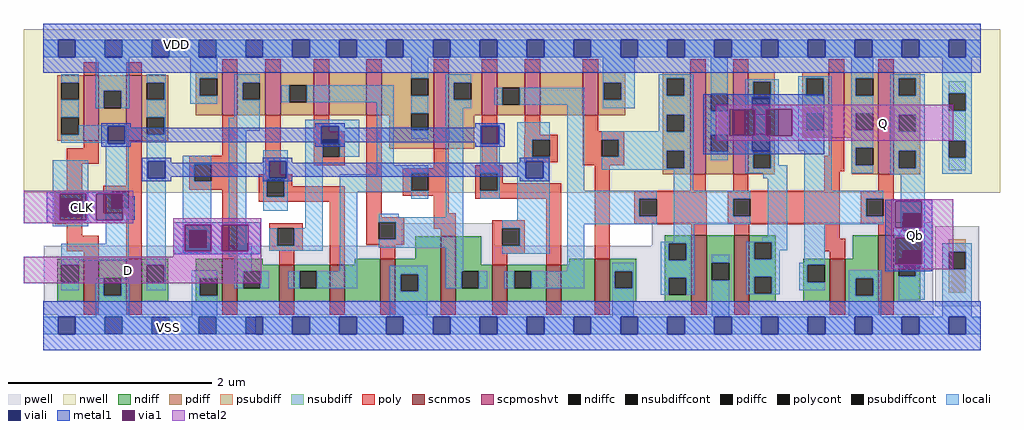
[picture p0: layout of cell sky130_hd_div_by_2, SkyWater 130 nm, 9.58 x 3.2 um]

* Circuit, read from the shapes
.subckt sky130_hd_div_by_2 VDD VSS Q Qb CLK D
XM1 VSS CLK n1 VSS sky130_fd_pr__nfet_01v8 w=0.42 l=0.15
XM2 n2 n1 VSS VSS sky130_fd_pr__nfet_01v8 w=0.42 l=0.15
XM3 n3 D VSS VSS sky130_fd_pr__nfet_01v8 w=0.42 l=0.15
XM4 n4 n1 n3 VSS sky130_fd_pr__nfet_01v8 w=0.36 l=0.15
XM5 n5 n2 n4 VSS sky130_fd_pr__nfet_01v8 w=0.36 l=0.15
XM6 VSS n6 n5 VSS sky130_fd_pr__nfet_01v8 w=0.42 l=0.15
XM7 n6 n4 VSS VSS sky130_fd_pr__nfet_01v8 w=0.64 l=0.15
XM8 n7 n2 n6 VSS sky130_fd_pr__nfet_01v8 w=0.36 l=0.15
XM9 n8 n1 n7 VSS sky130_fd_pr__nfet_01v8 w=0.36 l=0.15
XM10 VSS n9 n8 VSS sky130_fd_pr__nfet_01v8 w=0.42 l=0.15
XM11 VSS n7 n9 VSS sky130_fd_pr__nfet_01v8 w=0.65 l=0.15
XM12 Q n9 VSS VSS sky130_fd_pr__nfet_01v8 w=0.65 l=0.15
XM13 VSS n9 n10 VSS sky130_fd_pr__nfet_01v8 w=0.42 l=0.15
XM14 Qb n10 VSS VSS sky130_fd_pr__nfet_01v8 w=0.65 l=0.15
XM15 VDD CLK n1 VDD sky130_fd_pr__pfet_01v8_hvt w=0.64 l=0.15
XM16 n2 n1 VDD VDD sky130_fd_pr__pfet_01v8_hvt w=0.64 l=0.15
XM17 n3 D VDD VDD sky130_fd_pr__pfet_01v8_hvt w=0.42 l=0.15
XM18 n4 n2 n3 VDD sky130_fd_pr__pfet_01v8_hvt w=0.42 l=0.15
XM19 n11 n1 n4 VDD sky130_fd_pr__pfet_01v8_hvt w=0.42 l=0.15
XM20 VDD n6 n11 VDD sky130_fd_pr__pfet_01v8_hvt w=0.42 l=0.15
XM21 n6 n4 VDD VDD sky130_fd_pr__pfet_01v8_hvt w=0.75 l=0.15
XM22 n7 n1 n6 VDD sky130_fd_pr__pfet_01v8_hvt w=0.42 l=0.15
XM23 n12 n2 n7 VDD sky130_fd_pr__pfet_01v8_hvt w=0.42 l=0.15
XM24 VDD n9 n12 VDD sky130_fd_pr__pfet_01v8_hvt w=0.42 l=0.15
XM25 VDD n7 n9 VDD sky130_fd_pr__pfet_01v8_hvt w=1 l=0.15
XM26 Q n9 VDD VDD sky130_fd_pr__pfet_01v8_hvt w=1 l=0.15
XM27 VDD n9 n10 VDD sky130_fd_pr__pfet_01v8_hvt w=0.64 l=0.15
XM28 Qb n10 VDD VDD sky130_fd_pr__pfet_01v8_hvt w=1 l=0.15
.ends

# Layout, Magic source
magic
tech sky130A
magscale 1 2
<< viali >>
rect 1182 372 1216 406
rect 1182 300 1216 334
rect -172 172 -138 206
rect 76 111 110 145
rect 1477 144 1511 178
rect 1477 71 1511 105
<< metal1 >>
rect -131 487 234 532
rect 1085 406 1323 412
rect 1085 383 1182 406
rect 1216 383 1323 406
rect 1085 331 1136 383
rect 1188 334 1208 372
rect 1260 331 1323 383
rect 1085 300 1182 331
rect 1216 300 1323 331
rect 1085 294 1323 300
rect -203 217 -47 220
rect -203 165 -178 217
rect -126 165 -106 217
rect -54 212 -47 217
rect -54 166 -31 212
rect 1443 202 1535 205
rect -54 165 -47 166
rect -203 159 -47 165
rect 45 156 217 161
rect 45 104 68 156
rect 120 104 140 156
rect 192 104 217 156
rect 45 98 217 104
rect 1443 150 1462 202
rect 1514 150 1535 202
rect 1443 144 1477 150
rect 1511 144 1535 150
rect 1443 130 1535 144
rect 1443 78 1462 130
rect 1514 78 1535 130
rect 1443 71 1477 78
rect 1511 71 1535 78
rect 1443 65 1535 71
rect -137 -68 207 -22
<< via1 >>
rect 1136 372 1182 383
rect 1182 372 1188 383
rect 1208 372 1216 383
rect 1216 372 1260 383
rect 1136 334 1188 372
rect 1208 334 1260 372
rect 1136 331 1182 334
rect 1182 331 1188 334
rect 1208 331 1216 334
rect 1216 331 1260 334
rect -178 206 -126 217
rect -178 172 -172 206
rect -172 172 -138 206
rect -138 172 -126 206
rect -178 165 -126 172
rect -106 165 -54 217
rect 68 145 120 156
rect 68 111 76 145
rect 76 111 110 145
rect 110 111 120 145
rect 68 104 120 111
rect 140 104 192 156
rect 1462 178 1514 202
rect 1462 150 1477 178
rect 1477 150 1511 178
rect 1511 150 1514 178
rect 1462 105 1514 130
rect 1462 78 1477 105
rect 1477 78 1511 105
rect 1511 78 1514 105
<< metal2 >>
rect 1110 383 1576 391
rect 1110 331 1136 383
rect 1188 331 1208 383
rect 1260 331 1576 383
rect 1110 321 1576 331
rect -248 217 -34 223
rect -248 165 -178 217
rect -126 165 -106 217
rect -54 165 -34 217
rect 1455 202 1576 206
rect -248 159 -34 165
rect 45 156 218 169
rect 45 104 68 156
rect 120 104 140 156
rect 192 104 218 156
rect 45 93 218 104
rect -248 41 218 93
rect 1455 150 1462 202
rect 1514 150 1576 202
rect 1455 130 1576 150
rect 1455 78 1462 130
rect 1514 78 1576 130
rect 1455 69 1576 78
use sky130_hd_dfxbp_1  sky130_hd_dfxbp_1_0
transform 1 0 -210 0 1 -42
box -38 -48 1786 592
use sky130_hd_tapvpwrvgnd_1  sky130_hd_tapvpwrvgnd_1_0
transform 1 0 1538 0 1 -42
box -38 -48 130 592
<< labels >>
flabel metal1 s -131 487 234 532 2 FreeSans 224 0 0 0 VDD
port 2 nsew
flabel metal1 s -137 -68 207 -22 2 FreeSans 224 0 0 0 VSS
port 3 nsew
flabel metal2 s 1356 339 1524 370 2 FreeSans 224 0 0 0 Q
port 5 nsew
flabel metal2 s 1468 95 1535 174 2 FreeSans 224 0 0 0 Qb
port 6 nsew
flabel metal2 s -210 173 -56 208 2 FreeSans 224 0 0 0 CLK
port 7 nsew
flabel metal2 s -196 50 112 82 2 FreeSans 224 0 0 0 D
port 8 nsew
<< properties >>
string path 5.425 1.945 6.615 1.945 
<< end >>

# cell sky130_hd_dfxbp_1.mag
magic
tech sky130A
magscale 1 2
<< nwell >>
rect -38 261 1786 582
<< pwell >>
rect 704 157 886 201
rect 1194 157 1747 203
rect 1 21 1747 157
rect 29 -17 63 21
<< scnmos >>
rect 79 47 109 131
rect 163 47 193 131
rect 351 47 381 131
rect 463 47 493 119
rect 562 47 592 119
rect 661 47 691 131
rect 780 47 810 175
rect 881 47 911 119
rect 987 47 1017 119
rect 1082 47 1112 131
rect 1272 47 1302 177
rect 1356 47 1386 177
rect 1544 47 1574 131
rect 1639 47 1669 177
<< scpmoshvt >>
rect 79 363 109 491
rect 163 363 193 491
rect 351 413 381 497
rect 436 413 466 497
rect 531 413 561 497
rect 634 413 664 497
rect 766 347 796 497
rect 861 413 891 497
rect 945 413 975 497
rect 1059 413 1089 497
rect 1270 297 1300 497
rect 1354 297 1384 497
rect 1542 369 1572 497
rect 1639 297 1669 497
<< ndiff >>
rect 27 119 79 131
rect 27 85 35 119
rect 69 85 79 119
rect 27 47 79 85
rect 109 93 163 131
rect 109 59 119 93
rect 153 59 163 93
rect 109 47 163 59
rect 193 119 245 131
rect 193 85 203 119
rect 237 85 245 119
rect 193 47 245 85
rect 299 93 351 131
rect 299 59 307 93
rect 341 59 351 93
rect 299 47 351 59
rect 381 119 431 131
rect 730 131 780 175
rect 611 119 661 131
rect 381 107 463 119
rect 381 73 392 107
rect 426 73 463 107
rect 381 47 463 73
rect 493 107 562 119
rect 493 73 503 107
rect 537 73 562 107
rect 493 47 562 73
rect 592 47 661 119
rect 691 101 780 131
rect 691 67 702 101
rect 736 67 780 101
rect 691 47 780 67
rect 810 119 860 175
rect 1220 162 1272 177
rect 1032 119 1082 131
rect 810 107 881 119
rect 810 73 821 107
rect 855 73 881 107
rect 810 47 881 73
rect 911 107 987 119
rect 911 73 924 107
rect 958 73 987 107
rect 911 47 987 73
rect 1017 47 1082 119
rect 1112 107 1164 131
rect 1112 73 1122 107
rect 1156 73 1164 107
rect 1112 47 1164 73
rect 1220 128 1228 162
rect 1262 128 1272 162
rect 1220 94 1272 128
rect 1220 60 1228 94
rect 1262 60 1272 94
rect 1220 47 1272 60
rect 1302 123 1356 177
rect 1302 89 1312 123
rect 1346 89 1356 123
rect 1302 47 1356 89
rect 1386 164 1438 177
rect 1386 130 1396 164
rect 1430 130 1438 164
rect 1589 131 1639 177
rect 1386 96 1438 130
rect 1386 62 1396 96
rect 1430 62 1438 96
rect 1386 47 1438 62
rect 1492 119 1544 131
rect 1492 85 1500 119
rect 1534 85 1544 119
rect 1492 47 1544 85
rect 1574 93 1639 131
rect 1574 59 1595 93
rect 1629 59 1639 93
rect 1574 47 1639 59
rect 1669 131 1721 177
rect 1669 97 1679 131
rect 1713 97 1721 131
rect 1669 47 1721 97
<< pdiff >>
rect 27 477 79 491
rect 27 443 35 477
rect 69 443 79 477
rect 27 409 79 443
rect 27 375 35 409
rect 69 375 79 409
rect 27 363 79 375
rect 109 461 163 491
rect 109 427 119 461
rect 153 427 163 461
rect 109 363 163 427
rect 193 477 245 491
rect 193 443 203 477
rect 237 443 245 477
rect 193 409 245 443
rect 299 485 351 497
rect 299 451 307 485
rect 341 451 351 485
rect 299 413 351 451
rect 381 477 436 497
rect 381 443 391 477
rect 425 443 436 477
rect 381 413 436 443
rect 466 472 531 497
rect 466 438 483 472
rect 517 438 531 472
rect 466 413 531 438
rect 561 413 634 497
rect 664 485 766 497
rect 664 451 722 485
rect 756 451 766 485
rect 664 417 766 451
rect 664 413 722 417
rect 193 375 203 409
rect 237 375 245 409
rect 193 363 245 375
rect 679 383 722 413
rect 756 383 766 417
rect 679 347 766 383
rect 796 477 861 497
rect 796 443 806 477
rect 840 443 861 477
rect 796 413 861 443
rect 891 467 945 497
rect 891 433 901 467
rect 935 433 945 467
rect 891 413 945 433
rect 975 413 1059 497
rect 1089 477 1142 497
rect 1089 443 1100 477
rect 1134 443 1142 477
rect 1089 413 1142 443
rect 1216 485 1270 497
rect 1216 451 1224 485
rect 1258 451 1270 485
rect 1216 414 1270 451
rect 796 347 846 413
rect 1216 380 1224 414
rect 1258 380 1270 414
rect 1216 343 1270 380
rect 1216 309 1224 343
rect 1258 309 1270 343
rect 1216 297 1270 309
rect 1300 455 1354 497
rect 1300 421 1310 455
rect 1344 421 1354 455
rect 1300 375 1354 421
rect 1300 341 1310 375
rect 1344 341 1354 375
rect 1300 297 1354 341
rect 1384 479 1436 497
rect 1384 445 1394 479
rect 1428 445 1436 479
rect 1384 411 1436 445
rect 1384 377 1394 411
rect 1428 377 1436 411
rect 1384 343 1436 377
rect 1490 485 1542 497
rect 1490 451 1498 485
rect 1532 451 1542 485
rect 1490 417 1542 451
rect 1490 383 1498 417
rect 1532 383 1542 417
rect 1490 369 1542 383
rect 1572 485 1639 497
rect 1572 451 1595 485
rect 1629 451 1639 485
rect 1572 417 1639 451
rect 1572 383 1595 417
rect 1629 383 1639 417
rect 1572 369 1639 383
rect 1384 309 1394 343
rect 1428 309 1436 343
rect 1384 297 1436 309
rect 1587 349 1639 369
rect 1587 315 1595 349
rect 1629 315 1639 349
rect 1587 297 1639 315
rect 1669 485 1721 497
rect 1669 451 1679 485
rect 1713 451 1721 485
rect 1669 414 1721 451
rect 1669 380 1679 414
rect 1713 380 1721 414
rect 1669 343 1721 380
rect 1669 309 1679 343
rect 1713 309 1721 343
rect 1669 297 1721 309
<< ndiffc >>
rect 35 85 69 119
rect 119 59 153 93
rect 203 85 237 119
rect 307 59 341 93
rect 392 73 426 107
rect 503 73 537 107
rect 702 67 736 101
rect 821 73 855 107
rect 924 73 958 107
rect 1122 73 1156 107
rect 1228 128 1262 162
rect 1228 60 1262 94
rect 1312 89 1346 123
rect 1396 130 1430 164
rect 1396 62 1430 96
rect 1500 85 1534 119
rect 1595 59 1629 93
rect 1679 97 1713 131
<< pdiffc >>
rect 35 443 69 477
rect 35 375 69 409
rect 119 427 153 461
rect 203 443 237 477
rect 307 451 341 485
rect 391 443 425 477
rect 483 438 517 472
rect 722 451 756 485
rect 203 375 237 409
rect 722 383 756 417
rect 806 443 840 477
rect 901 433 935 467
rect 1100 443 1134 477
rect 1224 451 1258 485
rect 1224 380 1258 414
rect 1224 309 1258 343
rect 1310 421 1344 455
rect 1310 341 1344 375
rect 1394 445 1428 479
rect 1394 377 1428 411
rect 1498 451 1532 485
rect 1498 383 1532 417
rect 1595 451 1629 485
rect 1595 383 1629 417
rect 1394 309 1428 343
rect 1595 315 1629 349
rect 1679 451 1713 485
rect 1679 380 1713 414
rect 1679 309 1713 343
<< poly >>
rect 79 491 109 517
rect 163 491 193 517
rect 351 497 381 523
rect 436 497 466 523
rect 531 497 561 523
rect 634 497 664 523
rect 766 497 796 523
rect 861 497 891 523
rect 945 497 975 523
rect 1059 497 1089 523
rect 1270 497 1300 523
rect 1354 497 1384 523
rect 1542 497 1572 523
rect 1639 497 1669 523
rect 79 348 109 363
rect 46 318 109 348
rect 46 265 76 318
rect 163 274 193 363
rect 351 333 381 413
rect 22 249 76 265
rect 22 215 32 249
rect 66 215 76 249
rect 118 264 193 274
rect 286 317 381 333
rect 286 283 296 317
rect 330 283 381 317
rect 436 297 466 413
rect 531 381 561 413
rect 531 365 592 381
rect 531 331 548 365
rect 582 331 592 365
rect 531 315 592 331
rect 286 267 381 283
rect 118 230 134 264
rect 168 230 193 264
rect 118 220 193 230
rect 22 199 76 215
rect 46 176 76 199
rect 46 146 109 176
rect 79 131 109 146
rect 163 131 193 220
rect 351 131 381 267
rect 423 287 489 297
rect 423 253 439 287
rect 473 273 489 287
rect 473 253 592 273
rect 423 243 592 253
rect 443 191 509 201
rect 443 157 459 191
rect 493 157 509 191
rect 443 147 509 157
rect 463 119 493 147
rect 562 119 592 243
rect 634 213 664 413
rect 766 309 796 347
rect 861 315 891 413
rect 945 375 975 413
rect 1059 381 1089 413
rect 944 365 1010 375
rect 944 331 960 365
rect 994 331 1010 365
rect 944 321 1010 331
rect 1059 365 1140 381
rect 1059 331 1096 365
rect 1130 331 1140 365
rect 1059 315 1140 331
rect 706 299 796 309
rect 706 265 722 299
rect 756 265 796 299
rect 706 255 796 265
rect 766 220 796 255
rect 848 299 902 315
rect 848 265 858 299
rect 892 279 902 299
rect 892 265 1017 279
rect 848 249 1017 265
rect 634 203 708 213
rect 634 169 658 203
rect 692 169 708 203
rect 766 190 810 220
rect 780 175 810 190
rect 881 191 945 207
rect 634 159 708 169
rect 661 131 691 159
rect 881 157 901 191
rect 935 157 945 191
rect 881 141 945 157
rect 881 119 911 141
rect 987 119 1017 249
rect 1082 131 1112 315
rect 1542 333 1572 369
rect 1533 303 1572 333
rect 1270 265 1300 297
rect 1354 265 1384 297
rect 1533 265 1563 303
rect 1639 265 1669 297
rect 1160 249 1302 265
rect 1160 215 1170 249
rect 1204 215 1302 249
rect 1160 199 1302 215
rect 1344 249 1563 265
rect 1344 215 1354 249
rect 1388 215 1563 249
rect 1344 199 1563 215
rect 1605 249 1669 265
rect 1605 215 1615 249
rect 1649 215 1669 249
rect 1605 199 1669 215
rect 1272 177 1302 199
rect 1356 177 1386 199
rect 1533 170 1563 199
rect 1639 177 1669 199
rect 1533 146 1574 170
rect 1544 131 1574 146
rect 79 21 109 47
rect 163 21 193 47
rect 351 21 381 47
rect 463 21 493 47
rect 562 21 592 47
rect 661 21 691 47
rect 780 21 810 47
rect 881 21 911 47
rect 987 21 1017 47
rect 1082 21 1112 47
rect 1272 21 1302 47
rect 1356 21 1386 47
rect 1544 21 1574 47
rect 1639 21 1669 47
<< polycont >>
rect 32 215 66 249
rect 296 283 330 317
rect 548 331 582 365
rect 134 230 168 264
rect 439 253 473 287
rect 459 157 493 191
rect 960 331 994 365
rect 1096 331 1130 365
rect 722 265 756 299
rect 858 265 892 299
rect 658 169 692 203
rect 901 157 935 191
rect 1170 215 1204 249
rect 1354 215 1388 249
rect 1615 215 1649 249
<< locali >>
rect 0 527 29 561
rect 63 527 121 561
rect 155 527 213 561
rect 247 527 305 561
rect 339 527 397 561
rect 431 527 489 561
rect 523 527 581 561
rect 615 527 673 561
rect 707 527 765 561
rect 799 527 857 561
rect 891 527 949 561
rect 983 527 1041 561
rect 1075 527 1133 561
rect 1167 527 1225 561
rect 1259 527 1317 561
rect 1351 527 1409 561
rect 1443 527 1501 561
rect 1535 527 1593 561
rect 1627 527 1685 561
rect 1719 527 1748 561
rect 35 477 69 493
rect 35 409 69 443
rect 103 461 169 527
rect 103 427 119 461
rect 153 427 169 461
rect 203 477 240 493
rect 237 443 240 477
rect 203 409 240 443
rect 288 485 341 527
rect 288 451 307 485
rect 288 435 341 451
rect 375 477 425 493
rect 375 443 391 477
rect 722 485 756 527
rect 69 391 168 393
rect 69 375 126 391
rect 35 359 126 375
rect 122 357 126 359
rect 160 357 168 391
rect 18 249 88 325
rect 18 215 32 249
rect 66 215 88 249
rect 18 195 88 215
rect 122 264 168 357
rect 122 230 134 264
rect 122 161 168 230
rect 35 127 168 161
rect 237 375 240 409
rect 375 408 425 443
rect 467 438 483 472
rect 517 438 688 472
rect 203 323 240 375
rect 364 382 425 408
rect 514 391 620 404
rect 203 289 205 323
rect 239 289 240 323
rect 35 119 69 127
rect 203 119 240 289
rect 274 317 330 333
rect 274 283 296 317
rect 274 143 330 283
rect 364 161 398 382
rect 514 357 546 391
rect 580 365 620 391
rect 432 323 480 344
rect 432 289 443 323
rect 477 289 480 323
rect 432 287 480 289
rect 432 253 439 287
rect 473 253 480 287
rect 432 225 480 253
rect 514 191 548 357
rect 582 331 620 365
rect 654 315 688 438
rect 722 417 756 451
rect 722 367 756 383
rect 790 477 840 493
rect 790 443 806 477
rect 1098 477 1161 527
rect 790 427 840 443
rect 885 433 901 467
rect 935 433 1062 467
rect 654 299 756 315
rect 654 297 722 299
rect 364 135 409 161
rect 443 157 459 191
rect 493 157 548 191
rect 443 147 548 157
rect 582 265 722 297
rect 582 263 756 265
rect 35 69 69 85
rect 103 59 119 93
rect 153 59 169 93
rect 237 85 240 119
rect 203 69 240 85
rect 291 93 341 109
rect 103 17 169 59
rect 291 59 307 93
rect 375 107 409 135
rect 582 107 616 263
rect 722 249 756 263
rect 658 213 698 219
rect 790 213 824 427
rect 858 391 896 393
rect 858 357 860 391
rect 894 357 896 391
rect 858 299 896 357
rect 892 265 896 299
rect 858 249 896 265
rect 930 365 994 399
rect 930 331 960 365
rect 930 323 994 331
rect 930 289 947 323
rect 981 289 994 323
rect 658 203 824 213
rect 930 207 994 289
rect 692 169 824 203
rect 658 153 824 169
rect 375 73 392 107
rect 426 73 442 107
rect 481 73 503 107
rect 537 73 616 107
rect 680 101 754 117
rect 291 17 341 59
rect 680 67 702 101
rect 736 67 754 101
rect 790 107 824 153
rect 901 191 994 207
rect 935 157 994 191
rect 901 141 994 157
rect 1028 265 1062 433
rect 1098 443 1100 477
rect 1134 443 1161 477
rect 1098 427 1161 443
rect 1208 485 1276 493
rect 1208 451 1224 485
rect 1258 451 1276 485
rect 1208 414 1276 451
rect 1208 381 1224 414
rect 1096 380 1224 381
rect 1258 380 1276 414
rect 1096 365 1276 380
rect 1130 343 1276 365
rect 1130 331 1224 343
rect 1096 309 1224 331
rect 1258 309 1276 343
rect 1310 455 1344 527
rect 1482 485 1548 489
rect 1310 375 1344 421
rect 1310 325 1344 341
rect 1378 479 1444 484
rect 1378 445 1394 479
rect 1428 445 1444 479
rect 1378 411 1444 445
rect 1378 377 1394 411
rect 1428 377 1444 411
rect 1378 343 1444 377
rect 1482 451 1498 485
rect 1532 451 1548 485
rect 1482 417 1548 451
rect 1482 383 1498 417
rect 1532 383 1548 417
rect 1482 343 1548 383
rect 1096 306 1276 309
rect 1238 265 1276 306
rect 1378 309 1394 343
rect 1428 315 1444 343
rect 1428 309 1460 315
rect 1378 299 1460 309
rect 1413 289 1460 299
rect 1028 249 1204 265
rect 1028 215 1170 249
rect 1028 199 1204 215
rect 1238 249 1388 265
rect 1238 215 1354 249
rect 1238 199 1388 215
rect 1028 107 1062 199
rect 1238 165 1278 199
rect 1422 173 1460 289
rect 1411 165 1460 173
rect 1212 162 1278 165
rect 1212 128 1228 162
rect 1262 128 1278 162
rect 1380 164 1460 165
rect 790 73 821 107
rect 855 73 871 107
rect 905 73 924 107
rect 958 73 1062 107
rect 1117 107 1159 123
rect 1117 73 1122 107
rect 1156 73 1159 107
rect 680 17 754 67
rect 1117 17 1159 73
rect 1212 94 1278 128
rect 1212 60 1228 94
rect 1262 60 1278 94
rect 1312 123 1346 139
rect 1312 17 1346 89
rect 1380 130 1396 164
rect 1430 148 1460 164
rect 1494 265 1548 343
rect 1586 485 1629 527
rect 1586 451 1595 485
rect 1586 417 1629 451
rect 1586 383 1595 417
rect 1586 349 1629 383
rect 1586 315 1595 349
rect 1586 299 1629 315
rect 1663 485 1730 493
rect 1663 451 1679 485
rect 1713 451 1730 485
rect 1663 414 1730 451
rect 1663 380 1679 414
rect 1713 380 1730 414
rect 1663 343 1730 380
rect 1663 309 1679 343
rect 1713 309 1730 343
rect 1663 296 1730 309
rect 1494 249 1649 265
rect 1494 215 1615 249
rect 1494 199 1649 215
rect 1430 130 1446 148
rect 1380 96 1446 130
rect 1494 123 1534 199
rect 1683 182 1730 296
rect 1380 62 1396 96
rect 1430 62 1446 96
rect 1484 119 1534 123
rect 1484 85 1500 119
rect 1679 131 1730 182
rect 1484 69 1534 85
rect 1581 93 1645 109
rect 1380 61 1446 62
rect 1581 59 1595 93
rect 1629 59 1645 93
rect 1581 17 1645 59
rect 1713 97 1730 131
rect 1679 51 1730 97
rect 0 -17 29 17
rect 63 -17 121 17
rect 155 -17 213 17
rect 247 -17 305 17
rect 339 -17 397 17
rect 431 -17 489 17
rect 523 -17 581 17
rect 615 -17 673 17
rect 707 -17 765 17
rect 799 -17 857 17
rect 891 -17 949 17
rect 983 -17 1041 17
rect 1075 -17 1133 17
rect 1167 -17 1225 17
rect 1259 -17 1317 17
rect 1351 -17 1409 17
rect 1443 -17 1501 17
rect 1535 -17 1593 17
rect 1627 -17 1685 17
rect 1719 -17 1748 17
<< viali >>
rect 29 527 63 561
rect 121 527 155 561
rect 213 527 247 561
rect 305 527 339 561
rect 397 527 431 561
rect 489 527 523 561
rect 581 527 615 561
rect 673 527 707 561
rect 765 527 799 561
rect 857 527 891 561
rect 949 527 983 561
rect 1041 527 1075 561
rect 1133 527 1167 561
rect 1225 527 1259 561
rect 1317 527 1351 561
rect 1409 527 1443 561
rect 1501 527 1535 561
rect 1593 527 1627 561
rect 1685 527 1719 561
rect 126 357 160 391
rect 205 289 239 323
rect 546 365 580 391
rect 546 357 548 365
rect 548 357 580 365
rect 443 289 477 323
rect 860 357 894 391
rect 947 289 981 323
rect 29 -17 63 17
rect 121 -17 155 17
rect 213 -17 247 17
rect 305 -17 339 17
rect 397 -17 431 17
rect 489 -17 523 17
rect 581 -17 615 17
rect 673 -17 707 17
rect 765 -17 799 17
rect 857 -17 891 17
rect 949 -17 983 17
rect 1041 -17 1075 17
rect 1133 -17 1167 17
rect 1225 -17 1259 17
rect 1317 -17 1351 17
rect 1409 -17 1443 17
rect 1501 -17 1535 17
rect 1593 -17 1627 17
rect 1685 -17 1719 17
<< metal1 >>
rect 0 561 1748 592
rect 0 527 29 561
rect 63 527 121 561
rect 155 527 213 561
rect 247 527 305 561
rect 339 527 397 561
rect 431 527 489 561
rect 523 527 581 561
rect 615 527 673 561
rect 707 527 765 561
rect 799 527 857 561
rect 891 527 949 561
rect 983 527 1041 561
rect 1075 527 1133 561
rect 1167 527 1225 561
rect 1259 527 1317 561
rect 1351 527 1409 561
rect 1443 527 1501 561
rect 1535 527 1593 561
rect 1627 527 1685 561
rect 1719 527 1748 561
rect 0 496 1748 527
rect 114 391 172 397
rect 114 357 126 391
rect 160 388 172 391
rect 534 391 592 397
rect 534 388 546 391
rect 160 360 546 388
rect 160 357 172 360
rect 114 351 172 357
rect 534 357 546 360
rect 580 388 592 391
rect 848 391 906 397
rect 848 388 860 391
rect 580 360 860 388
rect 580 357 592 360
rect 534 351 592 357
rect 848 357 860 360
rect 894 357 906 391
rect 848 351 906 357
rect 193 323 251 329
rect 193 289 205 323
rect 239 320 251 323
rect 431 323 489 329
rect 431 320 443 323
rect 239 292 443 320
rect 239 289 251 292
rect 193 283 251 289
rect 431 289 443 292
rect 477 320 489 323
rect 935 323 993 329
rect 935 320 947 323
rect 477 292 947 320
rect 477 289 489 292
rect 431 283 489 289
rect 935 289 947 292
rect 981 289 993 323
rect 935 283 993 289
rect 0 17 1748 48
rect 0 -17 29 17
rect 63 -17 121 17
rect 155 -17 213 17
rect 247 -17 305 17
rect 339 -17 397 17
rect 431 -17 489 17
rect 523 -17 581 17
rect 615 -17 673 17
rect 707 -17 765 17
rect 799 -17 857 17
rect 891 -17 949 17
rect 983 -17 1041 17
rect 1075 -17 1133 17
rect 1167 -17 1225 17
rect 1259 -17 1317 17
rect 1351 -17 1409 17
rect 1443 -17 1501 17
rect 1535 -17 1593 17
rect 1627 -17 1685 17
rect 1719 -17 1748 17
rect 0 -48 1748 -17
<< labels >>
flabel metal1 s 29 -17 63 17 0 FreeSans 200 0 0 0 VGND
port 2 nsew
flabel metal1 s 29 527 63 561 0 FreeSans 200 0 0 0 VPWR
port 3 nsew
flabel locali s 1685 304 1719 338 0 FreeSans 400 0 0 0 Q_N
port 5 nsew
flabel locali s 289 221 323 255 0 FreeSans 200 0 0 0 D
port 6 nsew
flabel locali s 29 221 63 255 0 FreeSans 400 0 0 0 CLK
port 7 nsew
flabel locali s 1390 85 1424 119 0 FreeSans 400 0 0 0 Q
port 8 nsew
flabel pwell s 29 -17 63 17 0 FreeSans 200 0 0 0 VNB
port 9 nsew
flabel pwell s 46 0 46 0 0 FreeSans 200 0 0 0 VNB
flabel nwell s 29 527 63 561 0 FreeSans 200 0 0 0 VPB
port 10 nsew
flabel nwell s 46 544 46 544 0 FreeSans 200 0 0 0 VPB
rlabel comment s 0 0 0 0 4 dfxbp_1
<< properties >>
string FIXED_BBOX 0 0 1748 544
string path 0.000 0.000 8.740 0.000 
<< end >>

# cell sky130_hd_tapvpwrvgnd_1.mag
magic
tech sky130A
magscale 1 2
<< nwell >>
rect -38 261 130 582
<< pwell >>
rect 3 38 89 195
<< psubdiff >>
rect 29 145 63 169
rect 29 64 63 111
<< nsubdiff >>
rect 29 456 63 480
rect 29 363 63 422
rect 29 305 63 329
<< psubdiffcont >>
rect 29 111 63 145
<< nsubdiffcont >>
rect 29 422 63 456
rect 29 329 63 363
<< locali >>
rect 0 527 29 561
rect 63 527 92 561
rect 17 456 75 527
rect 17 422 29 456
rect 63 422 75 456
rect 17 363 75 422
rect 17 329 29 363
rect 63 329 75 363
rect 17 298 75 329
rect 17 145 75 162
rect 17 111 29 145
rect 63 111 75 145
rect 17 17 75 111
rect 0 -17 29 17
rect 63 -17 92 17
<< viali >>
rect 29 527 63 561
rect 29 -17 63 17
<< metal1 >>
rect 0 561 92 592
rect 0 527 29 561
rect 63 527 92 561
rect 0 496 92 527
rect 0 17 92 48
rect 0 -17 29 17
rect 63 -17 92 17
rect 0 -48 92 -17
<< labels >>
flabel metal1 s 21 -18 72 20 0 FreeSans 200 0 0 0 VGND
port 2 nsew
flabel metal1 s 22 524 75 553 0 FreeSans 200 0 0 0 VPWR
port 3 nsew
<< properties >>
string FIXED_BBOX 0 0 92 544
<< end >>
